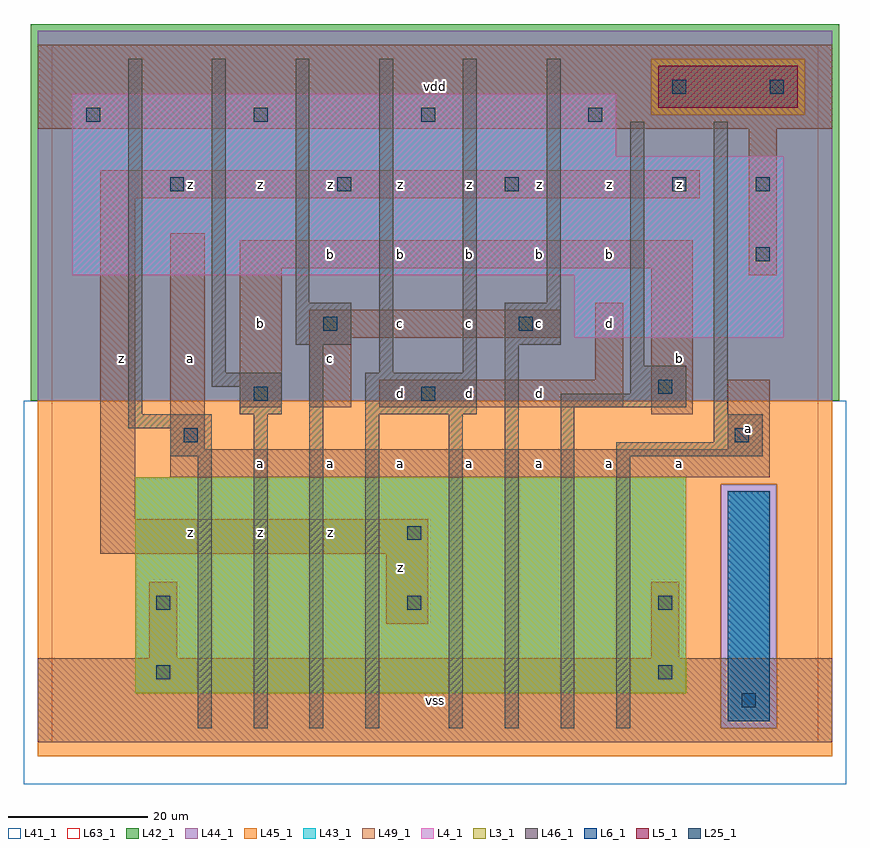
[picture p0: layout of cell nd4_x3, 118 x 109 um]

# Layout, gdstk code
import gdstk
lib = gdstk.Library(unit=1e-6, precision=1e-09)
def R(c, l, rs):  # rectangles x0, y0, x1, y1
    for r in rs: c.add(gdstk.rectangle(r[:2], r[2:], *l))
def A(c, l, x, y, w, h, nx, ny, dx, dy):  # array of equal rectangles
    R(c, l, [(x+i*dx, y+j*dy, x+i*dx+w, y+j*dy+h) for i in range(nx) for j in range(ny)])
L3_1 = (3, 1)
L4_1 = (4, 1)
L5_1 = (5, 1)
L6_1 = (6, 1)
L25_1 = (25, 1)
L41_1 = (41, 1)
L42_1 = (42, 1)
L43_1 = (43, 1)
L44_1 = (44, 1)
L45_1 = (45, 1)
L46_1 = (46, 1)
L49_1 = (49, 1)
L63_1 = (63, 1)

nd4_x3 = lib.new_cell('nd4_x3')
R(nd4_x3, L3_1, [(12,7,91,38)])
R(nd4_x3, L4_1, [(75,58,105,67), (3,67,105,84), (3,84,81,93)])
R(nd4_x3, L5_1, [(87,91,107,97)])
R(nd4_x3, L6_1, [(97,3,103,36)])
A(nd4_x3, L25_1, 15, 19, 2, 2, 3, 1, 36, 0)
A(nd4_x3, L25_1, 17, 79, 2, 2, 4, 1, 24, 0)
A(nd4_x3, L25_1, 5, 89, 2, 2, 4, 1, 24, 0)
R(nd4_x3, L25_1, [(99,5,101,7), (15,9,17,11), (87,9,89,11), (51,29,53,31), (19,43,21,45), (98,43,100,45), (29,49,31,51), (53,49,55,51), (87,50,89,52), (39,59,41,61), (67,59,69,61), (101,69,103,71), (101,79,103,81), (89,93,91,95), (103,93,105,95)])
R(nd4_x3, L41_1, [(-4,-6,114,49), (-3,-3,113,49)])
R(nd4_x3, L42_1, [(-3,49,113,103)])
R(nd4_x3, L43_1, [(97,3,103,36), (12,7,91,38), (75,58,105,67), (3,67,105,84), (3,84,81,93), (87,91,107,97)])
R(nd4_x3, L44_1, [(96,2,104,37), (-2,49,112,90), (-2,90,86,98), (108,90,112,98), (-2,98,112,102)])
R(nd4_x3, L45_1, [(-2,-2,112,2), (-2,2,96,37), (104,2,112,37), (-2,37,112,49), (86,90,108,98)])
R(nd4_x3, L46_1, [(21,2,23,41), (29,2,31,47), (37,2,39,57), (45,2,47,47), (57,2,59,47), (65,2,67,57), (73,2,75,48), (81,2,83,41), (17,41,23,45), (81,41,102,43), (95,43,102,47), (11,45,23,47), (11,47,13,98), (27,47,33,51), (45,47,61,53), (95,47,97,89), (73,48,91,50), (83,50,91,54), (23,51,33,53), (23,53,25,98), (47,53,49,98), (59,53,61,98), (83,54,85,89), (35,57,43,63), (65,57,73,63), (35,63,37,98), (71,63,73,98)])
R(nd4_x3, L49_1, [(-2,0,112,12), (14,12,18,23), (86,12,90,23), (48,17,54,27), (7,27,54,32), (7,32,12,78), (17,38,103,42), (17,42,22,73), (97,42,103,52), (86,47,92,68), (27,48,33,68), (37,48,43,58), (47,48,82,52), (78,52,82,63), (37,58,73,62), (100,67,104,88), (27,68,92,72), (7,78,93,82), (-2,88,112,100)])
R(nd4_x3, L63_1, [(0,0,110,100)])
nd4_x3.add(gdstk.Label('z', (10,55), layer=49, texttype=1))
nd4_x3.add(gdstk.Label('z', (10,55), layer=49, texttype=1))
nd4_x3.add(gdstk.Label('z', (20,30), layer=49, texttype=1))
nd4_x3.add(gdstk.Label('z', (20,30), layer=49, texttype=1))
nd4_x3.add(gdstk.Label('z', (30,30), layer=49, texttype=1))
nd4_x3.add(gdstk.Label('z', (30,30), layer=49, texttype=1))
nd4_x3.add(gdstk.Label('a', (30,40), layer=49, texttype=1))
nd4_x3.add(gdstk.Label('a', (30,40), layer=49, texttype=1))
nd4_x3.add(gdstk.Label('a', (20,55), layer=49, texttype=1))
nd4_x3.add(gdstk.Label('a', (20,55), layer=49, texttype=1))
nd4_x3.add(gdstk.Label('b', (30,60), layer=49, texttype=1))
nd4_x3.add(gdstk.Label('b', (30,60), layer=49, texttype=1))
nd4_x3.add(gdstk.Label('z', (20,80), layer=49, texttype=1))
nd4_x3.add(gdstk.Label('z', (20,80), layer=49, texttype=1))
nd4_x3.add(gdstk.Label('z', (30,80), layer=49, texttype=1))
nd4_x3.add(gdstk.Label('z', (30,80), layer=49, texttype=1))
nd4_x3.add(gdstk.Label('z', (40,30), layer=49, texttype=1))
nd4_x3.add(gdstk.Label('z', (40,30), layer=49, texttype=1))
nd4_x3.add(gdstk.Label('z', (50,25), layer=49, texttype=1))
nd4_x3.add(gdstk.Label('z', (50,25), layer=49, texttype=1))
nd4_x3.add(gdstk.Label('a', (40,40), layer=49, texttype=1))
nd4_x3.add(gdstk.Label('a', (40,40), layer=49, texttype=1))
nd4_x3.add(gdstk.Label('a', (50,40), layer=49, texttype=1))
nd4_x3.add(gdstk.Label('a', (50,40), layer=49, texttype=1))
nd4_x3.add(gdstk.Label('d', (50,50), layer=49, texttype=1))
nd4_x3.add(gdstk.Label('d', (50,50), layer=49, texttype=1))
nd4_x3.add(gdstk.Label('c', (40,55), layer=49, texttype=1))
nd4_x3.add(gdstk.Label('c', (40,55), layer=49, texttype=1))
nd4_x3.add(gdstk.Label('c', (50,60), layer=49, texttype=1))
nd4_x3.add(gdstk.Label('c', (50,60), layer=49, texttype=1))
nd4_x3.add(gdstk.Label('b', (50,70), layer=49, texttype=1))
nd4_x3.add(gdstk.Label('b', (50,70), layer=49, texttype=1))
nd4_x3.add(gdstk.Label('b', (40,70), layer=49, texttype=1))
nd4_x3.add(gdstk.Label('b', (40,70), layer=49, texttype=1))
nd4_x3.add(gdstk.Label('z', (40,80), layer=49, texttype=1))
nd4_x3.add(gdstk.Label('z', (40,80), layer=49, texttype=1))
nd4_x3.add(gdstk.Label('z', (50,80), layer=49, texttype=1))
nd4_x3.add(gdstk.Label('z', (50,80), layer=49, texttype=1))
nd4_x3.add(gdstk.Label('vss', (55,6), layer=49, texttype=1))
nd4_x3.add(gdstk.Label('vss', (55,6), layer=49, texttype=1))
nd4_x3.add(gdstk.Label('a', (60,40), layer=49, texttype=1))
nd4_x3.add(gdstk.Label('a', (70,40), layer=49, texttype=1))
nd4_x3.add(gdstk.Label('a', (70,40), layer=49, texttype=1))
nd4_x3.add(gdstk.Label('a', (60,40), layer=49, texttype=1))
nd4_x3.add(gdstk.Label('d', (60,50), layer=49, texttype=1))
nd4_x3.add(gdstk.Label('d', (70,50), layer=49, texttype=1))
nd4_x3.add(gdstk.Label('d', (70,50), layer=49, texttype=1))
nd4_x3.add(gdstk.Label('d', (60,50), layer=49, texttype=1))
nd4_x3.add(gdstk.Label('c', (60,60), layer=49, texttype=1))
nd4_x3.add(gdstk.Label('c', (70,60), layer=49, texttype=1))
nd4_x3.add(gdstk.Label('c', (70,60), layer=49, texttype=1))
nd4_x3.add(gdstk.Label('c', (60,60), layer=49, texttype=1))
nd4_x3.add(gdstk.Label('b', (60,70), layer=49, texttype=1))
nd4_x3.add(gdstk.Label('b', (70,70), layer=49, texttype=1))
nd4_x3.add(gdstk.Label('b', (70,70), layer=49, texttype=1))
nd4_x3.add(gdstk.Label('b', (60,70), layer=49, texttype=1))
nd4_x3.add(gdstk.Label('z', (60,80), layer=49, texttype=1))
nd4_x3.add(gdstk.Label('z', (70,80), layer=49, texttype=1))
nd4_x3.add(gdstk.Label('z', (70,80), layer=49, texttype=1))
nd4_x3.add(gdstk.Label('z', (60,80), layer=49, texttype=1))
nd4_x3.add(gdstk.Label('vdd', (55,94), layer=49, texttype=1))
nd4_x3.add(gdstk.Label('vdd', (55,94), layer=49, texttype=1))
nd4_x3.add(gdstk.Label('a', (90,40), layer=49, texttype=1))
nd4_x3.add(gdstk.Label('a', (80,40), layer=49, texttype=1))
nd4_x3.add(gdstk.Label('a', (90,40), layer=49, texttype=1))
nd4_x3.add(gdstk.Label('a', (80,40), layer=49, texttype=1))
nd4_x3.add(gdstk.Label('b', (90,55), layer=49, texttype=1))
nd4_x3.add(gdstk.Label('d', (80,60), layer=49, texttype=1))
nd4_x3.add(gdstk.Label('b', (90,55), layer=49, texttype=1))
nd4_x3.add(gdstk.Label('d', (80,60), layer=49, texttype=1))
nd4_x3.add(gdstk.Label('b', (80,70), layer=49, texttype=1))
nd4_x3.add(gdstk.Label('b', (80,70), layer=49, texttype=1))
nd4_x3.add(gdstk.Label('z', (90,80), layer=49, texttype=1))
nd4_x3.add(gdstk.Label('z', (80,80), layer=49, texttype=1))
nd4_x3.add(gdstk.Label('z', (90,80), layer=49, texttype=1))
nd4_x3.add(gdstk.Label('z', (80,80), layer=49, texttype=1))
nd4_x3.add(gdstk.Label('a', (100,45), layer=49, texttype=1))
nd4_x3.add(gdstk.Label('a', (100,45), layer=49, texttype=1))

lib.write_gds('nd4_x3.gds')
